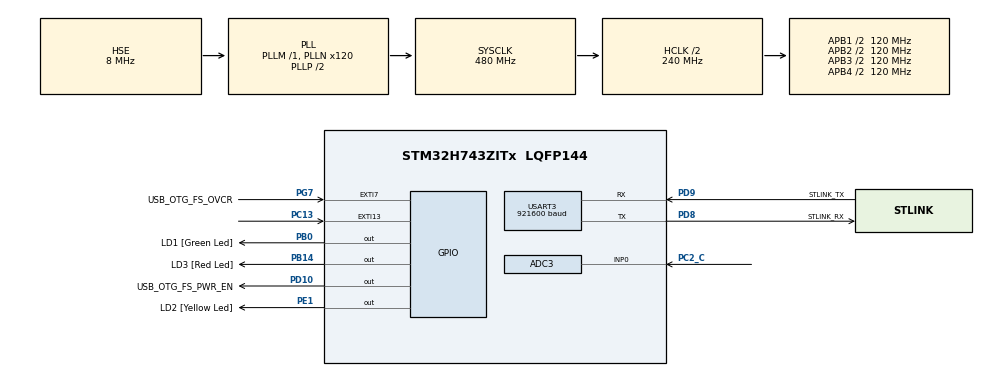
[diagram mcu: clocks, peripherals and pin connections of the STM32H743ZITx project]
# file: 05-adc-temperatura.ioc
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ADC3.Channel-0\#ChannelRegularConversion=ADC_CHANNEL_TEMPSENSOR
ADC3.NbrOfConversionFlag=1
ADC3.OffsetNumber-0\#ChannelRegularConversion=ADC_OFFSET_NONE
ADC3.OffsetSignedSaturation-0\#ChannelRegularConversion=DISABLE
ADC3.Rank-0\#ChannelRegularConversion=1
ADC3.SamplingTime-0\#ChannelRegularConversion=ADC_SAMPLETIME_1CYCLE_5
Mcu.Family=STM32H7
Mcu.Name=STM32H743ZITx
Mcu.Package=LQFP144
NVIC.ADC3_IRQn=true\:0\:0\:false\:false\:true\:true\:true\:true
NVIC.EXTI15_10_IRQn=true\:0\:0\:false\:false\:true\:true\:true\:true
NVIC.PriorityGroup=NVIC_PRIORITYGROUP_4
NVIC.TIM6_DAC_IRQn=true\:0\:0\:false\:false\:true\:true\:true\:true
NVIC.USART3_IRQn=true\:0\:0\:false\:false\:true\:true\:true\:true
PB0.GPIO_Label=LD1 [Green Led]
PB0.Signal=GPIO_Output
PB14.GPIO_Label=LD3 [Red Led]
PB14.Signal=GPIO_Output
PC13.Signal=GPXTI13
PC2_C.Mode=IN0-Single-Ended
PC2_C.Signal=ADC3_INP0
PD10.GPIO_Label=USB_OTG_FS_PWR_EN
PD10.Signal=GPIO_Output
PD8.GPIO_Label=STLINK_RX
PD8.Mode=Asynchronous
PD8.Signal=USART3_TX
PD9.GPIO_Label=STLINK_TX
PD9.Mode=Asynchronous
PD9.Signal=USART3_RX
PE1.GPIO_Label=LD2 [Yellow Led]
PE1.Signal=GPIO_Output
PG7.GPIO_Label=USB_OTG_FS_OVCR
PG7.Signal=GPXTI7
PH0-OSC_IN\ (PH0).Mode=HSE-External-Clock-Source
PH0-OSC_IN\ (PH0).Signal=RCC_OSC_IN
ProjectManager.HeapSize=0x200
ProjectManager.StackSize=0x400
ProjectManager.TargetToolchain=STM32CubeIDE
RCC.ADCFreq_Value=75000000
RCC.APB1Freq_Value=120000000
RCC.APB2Freq_Value=120000000
RCC.APB3Freq_Value=120000000
RCC.APB4Freq_Value=120000000
RCC.CortexFreq_Value=480000000
RCC.D1PPRE=RCC_APB3_DIV2
RCC.D2PPRE1=RCC_APB1_DIV2
RCC.D2PPRE2=RCC_APB2_DIV2
RCC.D3PPRE=RCC_APB4_DIV2
RCC.DIVM1=1
RCC.DIVM2=1
RCC.DIVN1=120
RCC.DIVN2=18
RCC.HCLKFreq_Value=240000000
RCC.HPRE=RCC_HCLK_DIV2
RCC.HSE_VALUE=8000000
RCC.PLL2FRACN=6144
RCC.PLL3FRACN=0
RCC.PLLFRACN=0
RCC.PLLSourceVirtual=RCC_PLLSOURCE_HSE
RCC.PWR_Regulator_Voltage_Scale=PWR_REGULATOR_VOLTAGE_SCALE0
RCC.SYSCLKFreq_VALUE=480000000
RCC.SYSCLKSource=RCC_SYSCLKSOURCE_PLLCLK
RCC.USBFreq_Value=480000000
USART3.BaudRate=921600
USART3.VirtualMode-Asynchronous=VM_ASYNC
VP_ADC3_TempSens_Input.Mode=IN-TempSens
VP_ADC3_Vref_Input.Mode=IN-Vrefint
VP_MEMORYMAP_VS_MEMORYMAP.Mode=CurAppReg
VP_TIM6_VS_ClockSourceINT.Mode=Enable_Timer
board=NUCLEO-H743ZI2

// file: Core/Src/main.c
/* USER CODE BEGIN Header */
/**
 ******************************************************************************
 * @file           : main.c
 * @brief          : Main program body
 ******************************************************************************
 * @attention
 *
 * Copyright (c) 2024 STMicroelectronics.
 * All rights reserved.
 *
 * This software is licensed under terms that can be found in the LICENSE file
 * in the root directory of this software component.
 * If no LICENSE file comes with this software, it is provided AS-IS.
 *
 ******************************************************************************
 */
/* USER CODE END Header */
#include "main.h"

/* USER CODE BEGIN Includes */
#include "lz_uart.h"
#include "lz_serial.h"
#include "lz_adc.h"
/* USER CODE END Includes */

/* USER CODE BEGIN PD */
#define LZ_VREFINT 19
#define LZ_VSENSE 18
/* USER CODE END PD */

ADC_HandleTypeDef hadc3;

TIM_HandleTypeDef htim6;

UART_HandleTypeDef huart3;

void SystemClock_Config(void);
static void MX_GPIO_Init(void);
static void MX_ADC3_Init(void);
static void MX_USART3_UART_Init(void);
static void MX_TIM6_Init(void);

/* USER CODE BEGIN 0 */
enum {
	LZ_IDLE, LZ_SEND_CALIBRATION_DATA
} gState = LZ_IDLE;

uint8_t __lz_serial_new_character_read(char c) {
	switch (c) {
	case 'c':
		gState = LZ_SEND_CALIBRATION_DATA;
		return 1;
	default:
		break;
	}

	return 0;
}

void __lz_serial_error_tx_buffer_full(void) {
	GPIOE->BSRR = GPIO_BSRR_BS1;
}

void __lz_serial_error_rx_buffer_full(void) {
	GPIOB->BSRR = GPIO_BSRR_BS14;
	Error_Handler();
}

void __lz_adc_new_data(uint8_t slot, uint16_t data)
{
	char id = slot == 0 ? 'v' : 't';
	lz_serial_send_binary(&id, sizeof(id));
	lz_serial_send_binary(&data, sizeof(data));
}

void __lz_adc_error_overrun(void)
{
	GPIOB->BSRR = GPIO_BSRR_BS14;
	Error_Handler();
}
/* USER CODE END 0 */

int main(void)
{

  /* MCU Configuration--------------------------------------------------------*/

  /* Reset of all peripherals, Initializes the Flash interface and the Systick. */
  HAL_Init();

  /* Configure the system clock */
  SystemClock_Config();

  /* Initialize all configured peripherals */
  MX_GPIO_Init();
  MX_ADC3_Init();
  MX_USART3_UART_Init();
  MX_TIM6_Init();
  /* USER CODE BEGIN 2 */

	lz_uart_setup();

	TIM6->PSC = 32000;
	TIM6->ARR = 1500;
	TIM6->DIER |= TIM_DIER_UIE;
	TIM6->CR1 &= ~TIM_CR1_CEN;

	lz_adc_prepare_channel(LZ_VSENSE, LZ_ST_810_5_CLOCK);
	lz_adc_prepare_channel(LZ_VREFINT, LZ_ST_810_5_CLOCK);

	lz_adc_calibration();
	lz_adc_enable();

	ADC3_COMMON->CCR |= ADC_CCR_TSEN | ADC_CCR_VREFEN; // serve per abilitare il termometro e la VREF

	LZ_ADC_SEQUENCE(LZ_VREFINT, LZ_VSENSE);
  /* USER CODE END 2 */

  /* Infinite loop */
  /* USER CODE BEGIN WHILE */
	while (1) {
		switch (gState)
		{
		case LZ_SEND_CALIBRATION_DATA:
			{
				uint16_t tmp;

				// Send calibration data
				lz_serial_send_binary(VREFINT_CAL_ADDR, sizeof(*VREFINT_CAL_ADDR));

				tmp = TEMPSENSOR_CAL1_TEMP;
				lz_serial_send_binary(&tmp, sizeof(tmp));
				lz_serial_send_binary(TEMPSENSOR_CAL1_ADDR, sizeof(*TEMPSENSOR_CAL1_ADDR));

				tmp = TEMPSENSOR_CAL2_TEMP;
				lz_serial_send_binary(&tmp, sizeof(tmp));
				lz_serial_send_binary(TEMPSENSOR_CAL2_ADDR, sizeof(*TEMPSENSOR_CAL2_ADDR));

				gState = LZ_IDLE;
			}
			break;

		default:
		}

    /* USER CODE END WHILE */

	}
}

void SystemClock_Config(void)
{
  RCC_OscInitTypeDef RCC_OscInitStruct = {0};
  RCC_ClkInitTypeDef RCC_ClkInitStruct = {0};

  /** Supply configuration update enable
  */
  HAL_PWREx_ConfigSupply(PWR_LDO_SUPPLY);

  /** Configure the main internal regulator output voltage
  */
  __HAL_PWR_VOLTAGESCALING_CONFIG(PWR_REGULATOR_VOLTAGE_SCALE1);

  while(!__HAL_PWR_GET_FLAG(PWR_FLAG_VOSRDY)) {}

  __HAL_RCC_SYSCFG_CLK_ENABLE();
  __HAL_PWR_VOLTAGESCALING_CONFIG(PWR_REGULATOR_VOLTAGE_SCALE0);

  while(!__HAL_PWR_GET_FLAG(PWR_FLAG_VOSRDY)) {}

  /** Initializes the RCC Oscillators according to the specified parameters
  * in the RCC_OscInitTypeDef structure.
  */
  RCC_OscInitStruct.OscillatorType = RCC_OSCILLATORTYPE_HSE;
  RCC_OscInitStruct.HSEState = RCC_HSE_BYPASS;
  RCC_OscInitStruct.PLL.PLLState = RCC_PLL_ON;
  RCC_OscInitStruct.PLL.PLLSource = RCC_PLLSOURCE_HSE;
  RCC_OscInitStruct.PLL.PLLM = 1;
  RCC_OscInitStruct.PLL.PLLN = 120;
  RCC_OscInitStruct.PLL.PLLP = 2;
  RCC_OscInitStruct.PLL.PLLQ = 2;
  RCC_OscInitStruct.PLL.PLLR = 2;
  RCC_OscInitStruct.PLL.PLLRGE = RCC_PLL1VCIRANGE_3;
  RCC_OscInitStruct.PLL.PLLVCOSEL = RCC_PLL1VCOWIDE;
  RCC_OscInitStruct.PLL.PLLFRACN = 0;
  if (HAL_RCC_OscConfig(&RCC_OscInitStruct) != HAL_OK)
  {
    Error_Handler();
  }

  /** Initializes the CPU, AHB and APB buses clocks
  */
  RCC_ClkInitStruct.ClockType = RCC_CLOCKTYPE_HCLK|RCC_CLOCKTYPE_SYSCLK
                              |RCC_CLOCKTYPE_PCLK1|RCC_CLOCKTYPE_PCLK2
                              |RCC_CLOCKTYPE_D3PCLK1|RCC_CLOCKTYPE_D1PCLK1;
  RCC_ClkInitStruct.SYSCLKSource = RCC_SYSCLKSOURCE_PLLCLK;
  RCC_ClkInitStruct.SYSCLKDivider = RCC_SYSCLK_DIV1;
  RCC_ClkInitStruct.AHBCLKDivider = RCC_HCLK_DIV2;
  RCC_ClkInitStruct.APB3CLKDivider = RCC_APB3_DIV2;
  RCC_ClkInitStruct.APB1CLKDivider = RCC_APB1_DIV2;
  RCC_ClkInitStruct.APB2CLKDivider = RCC_APB2_DIV2;
  RCC_ClkInitStruct.APB4CLKDivider = RCC_APB4_DIV2;

  if (HAL_RCC_ClockConfig(&RCC_ClkInitStruct, FLASH_LATENCY_4) != HAL_OK)
  {
    Error_Handler();
  }
}

static void MX_ADC3_Init(void)
{

  ADC_ChannelConfTypeDef sConfig = {0};

  /** Common config
  */
  hadc3.Instance = ADC3;
  hadc3.Init.ClockPrescaler = ADC_CLOCK_ASYNC_DIV1;
  hadc3.Init.ScanConvMode = ADC_SCAN_DISABLE;
  hadc3.Init.EOCSelection = ADC_EOC_SINGLE_CONV;
  hadc3.Init.LowPowerAutoWait = DISABLE;
  hadc3.Init.ContinuousConvMode = DISABLE;
  hadc3.Init.NbrOfConversion = 1;
  hadc3.Init.DiscontinuousConvMode = DISABLE;
  hadc3.Init.ExternalTrigConv = ADC_SOFTWARE_START;
  hadc3.Init.ExternalTrigConvEdge = ADC_EXTERNALTRIGCONVEDGE_NONE;
  hadc3.Init.ConversionDataManagement = ADC_CONVERSIONDATA_DR;
  hadc3.Init.Overrun = ADC_OVR_DATA_PRESERVED;
  hadc3.Init.LeftBitShift = ADC_LEFTBITSHIFT_NONE;
  hadc3.Init.OversamplingMode = DISABLE;
  hadc3.Init.Oversampling.Ratio = 1;
  if (HAL_ADC_Init(&hadc3) != HAL_OK)
  {
    Error_Handler();
  }
  hadc3.Init.Resolution = ADC_RESOLUTION_16B;
  if (HAL_ADC_Init(&hadc3) != HAL_OK)
  {
    Error_Handler();
  }

  /** Configure Regular Channel
  */
  sConfig.Channel = ADC_CHANNEL_TEMPSENSOR;
  sConfig.Rank = ADC_REGULAR_RANK_1;
  sConfig.SamplingTime = ADC_SAMPLETIME_1CYCLE_5;
  sConfig.SingleDiff = ADC_SINGLE_ENDED;
  sConfig.OffsetNumber = ADC_OFFSET_NONE;
  sConfig.Offset = 0;
  sConfig.OffsetSignedSaturation = DISABLE;
  if (HAL_ADC_ConfigChannel(&hadc3, &sConfig) != HAL_OK)
  {
    Error_Handler();
  }

}

static void MX_TIM6_Init(void)
{

  TIM_MasterConfigTypeDef sMasterConfig = {0};

  htim6.Instance = TIM6;
  htim6.Init.Prescaler = 0;
  htim6.Init.CounterMode = TIM_COUNTERMODE_UP;
  htim6.Init.Period = 65535;
  htim6.Init.AutoReloadPreload = TIM_AUTORELOAD_PRELOAD_DISABLE;
  if (HAL_TIM_Base_Init(&htim6) != HAL_OK)
  {
    Error_Handler();
  }
  sMasterConfig.MasterOutputTrigger = TIM_TRGO_RESET;
  sMasterConfig.MasterSlaveMode = TIM_MASTERSLAVEMODE_DISABLE;
  if (HAL_TIMEx_MasterConfigSynchronization(&htim6, &sMasterConfig) != HAL_OK)
  {
    Error_Handler();
  }

}

static void MX_USART3_UART_Init(void)
{

  huart3.Instance = USART3;
  huart3.Init.BaudRate = 921600;
  huart3.Init.WordLength = UART_WORDLENGTH_8B;
  huart3.Init.StopBits = UART_STOPBITS_1;
  huart3.Init.Parity = UART_PARITY_NONE;
  huart3.Init.Mode = UART_MODE_TX_RX;
  huart3.Init.HwFlowCtl = UART_HWCONTROL_NONE;
  huart3.Init.OverSampling = UART_OVERSAMPLING_16;
  huart3.Init.OneBitSampling = UART_ONE_BIT_SAMPLE_DISABLE;
  huart3.Init.ClockPrescaler = UART_PRESCALER_DIV1;
  huart3.AdvancedInit.AdvFeatureInit = UART_ADVFEATURE_NO_INIT;
  if (HAL_UART_Init(&huart3) != HAL_OK)
  {
    Error_Handler();
  }
  if (HAL_UARTEx_SetTxFifoThreshold(&huart3, UART_TXFIFO_THRESHOLD_1_8) != HAL_OK)
  {
    Error_Handler();
  }
  if (HAL_UARTEx_SetRxFifoThreshold(&huart3, UART_RXFIFO_THRESHOLD_1_8) != HAL_OK)
  {
    Error_Handler();
  }
  if (HAL_UARTEx_DisableFifoMode(&huart3) != HAL_OK)
  {
    Error_Handler();
  }

}

static void MX_GPIO_Init(void)
{
  GPIO_InitTypeDef GPIO_InitStruct = {0};

  /* GPIO Ports Clock Enable */
  __HAL_RCC_GPIOC_CLK_ENABLE();
  __HAL_RCC_GPIOH_CLK_ENABLE();
  __HAL_RCC_GPIOB_CLK_ENABLE();
  __HAL_RCC_GPIOD_CLK_ENABLE();
  __HAL_RCC_GPIOG_CLK_ENABLE();
  __HAL_RCC_GPIOE_CLK_ENABLE();

  /*Configure GPIO pin Output Level */
  HAL_GPIO_WritePin(GPIOB, LD1_Pin|LD3_Pin, GPIO_PIN_RESET);

  /*Configure GPIO pin Output Level */
  HAL_GPIO_WritePin(USB_OTG_FS_PWR_EN_GPIO_Port, USB_OTG_FS_PWR_EN_Pin, GPIO_PIN_RESET);

  /*Configure GPIO pin Output Level */
  HAL_GPIO_WritePin(LD2_GPIO_Port, LD2_Pin, GPIO_PIN_RESET);

  /*Configure GPIO pin : PC13 */
  GPIO_InitStruct.Pin = GPIO_PIN_13;
  GPIO_InitStruct.Mode = GPIO_MODE_IT_RISING;
  GPIO_InitStruct.Pull = GPIO_NOPULL;
  HAL_GPIO_Init(GPIOC, &GPIO_InitStruct);

  /*Configure GPIO pins : LD1_Pin LD3_Pin */
  GPIO_InitStruct.Pin = LD1_Pin|LD3_Pin;
  GPIO_InitStruct.Mode = GPIO_MODE_OUTPUT_PP;
  GPIO_InitStruct.Pull = GPIO_NOPULL;
  GPIO_InitStruct.Speed = GPIO_SPEED_FREQ_LOW;
  HAL_GPIO_Init(GPIOB, &GPIO_InitStruct);

  /*Configure GPIO pin : USB_OTG_FS_PWR_EN_Pin */
  GPIO_InitStruct.Pin = USB_OTG_FS_PWR_EN_Pin;
  GPIO_InitStruct.Mode = GPIO_MODE_OUTPUT_PP;
  GPIO_InitStruct.Pull = GPIO_NOPULL;
  GPIO_InitStruct.Speed = GPIO_SPEED_FREQ_LOW;
  HAL_GPIO_Init(USB_OTG_FS_PWR_EN_GPIO_Port, &GPIO_InitStruct);

  /*Configure GPIO pin : USB_OTG_FS_OVCR_Pin */
  GPIO_InitStruct.Pin = USB_OTG_FS_OVCR_Pin;
  GPIO_InitStruct.Mode = GPIO_MODE_IT_RISING;
  GPIO_InitStruct.Pull = GPIO_NOPULL;
  HAL_GPIO_Init(USB_OTG_FS_OVCR_GPIO_Port, &GPIO_InitStruct);

  /*Configure GPIO pin : LD2_Pin */
  GPIO_InitStruct.Pin = LD2_Pin;
  GPIO_InitStruct.Mode = GPIO_MODE_OUTPUT_PP;
  GPIO_InitStruct.Pull = GPIO_NOPULL;
  GPIO_InitStruct.Speed = GPIO_SPEED_FREQ_LOW;
  HAL_GPIO_Init(LD2_GPIO_Port, &GPIO_InitStruct);

  /* EXTI interrupt init*/
  HAL_NVIC_SetPriority(EXTI15_10_IRQn, 0, 0);
  HAL_NVIC_EnableIRQ(EXTI15_10_IRQn);

}

void Error_Handler(void)
{
  /* USER CODE BEGIN Error_Handler_Debug */
	/* User can add his own implementation to report the HAL error return state */

	__lz_serial_error_rx_buffer_full();

	__disable_irq();
	while (1) {
	}
  /* USER CODE END Error_Handler_Debug */
}
